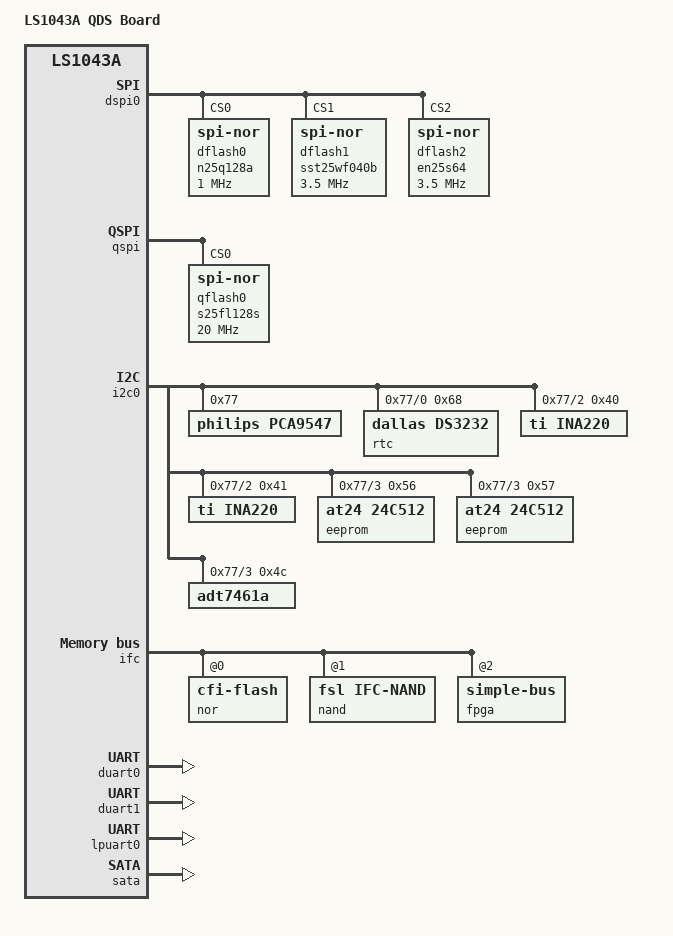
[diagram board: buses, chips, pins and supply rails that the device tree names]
// SPDX-License-Identifier: GPL-2.0+ OR X11
/*
 * Device Tree Include file for Freescale Layerscape-1043A family SoC.
 *
 * Copyright (C) 2015, Freescale Semiconductor
 *
 * Mingkai Hu <Mingkai.hu@freescale.com>
 */

/include/ "fsl-ls1043a.dtsi"

/ {
	model = "LS1043A QDS Board";
	aliases {
		spi0 = &qspi;
		spi1 = &dspi0;
	};
};

&dspi0 {
	bus-num = <0>;
	status = "okay";

	dflash0: n25q128a {
		#address-cells = <1>;
		#size-cells = <1>;
		compatible = "jedec,spi-nor";
		spi-max-frequency = <1000000>; /* input clock */
		spi-cpol;
		spi-cpha;
		reg = <0>;
	};

	dflash1: sst25wf040b {
		#address-cells = <1>;
		#size-cells = <1>;
		compatible = "jedec,spi-nor";
		spi-max-frequency = <3500000>;
		spi-cpol;
		spi-cpha;
		reg = <1>;
	};

	dflash2: en25s64 {
		#address-cells = <1>;
		#size-cells = <1>;
		compatible = "jedec,spi-nor";
		spi-max-frequency = <3500000>;
		spi-cpol;
		spi-cpha;
		reg = <2>;
	};
};

&qspi {
	bus-num = <0>;
	status = "okay";

	qflash0: s25fl128s@0 {
		#address-cells = <1>;
		#size-cells = <1>;
		compatible = "jedec,spi-nor";
		spi-max-frequency = <20000000>;
		reg = <0>;
	};
};

&i2c0 {
	status = "okay";
	pca9547@77 {
		compatible = "philips,pca9547";
		reg = <0x77>;
		#address-cells = <1>;
		#size-cells = <0>;

		i2c@0 {
			#address-cells = <1>;
			#size-cells = <0>;
			reg = <0x0>;

			rtc@68 {
				compatible = "dallas,ds3232";
				reg = <0x68>;
				/* IRQ10_B */
				interrupts = <0 150 0x4>;
			};
		};

		i2c@2 {
			#address-cells = <1>;
			#size-cells = <0>;
			reg = <0x2>;

			ina220@40 {
				compatible = "ti,ina220";
				reg = <0x40>;
				shunt-resistor = <1000>;
			};

			ina220@41 {
				compatible = "ti,ina220";
				reg = <0x41>;
				shunt-resistor = <1000>;
			};
		};

		i2c@3 {
			#address-cells = <1>;
			#size-cells = <0>;
			reg = <0x3>;

			eeprom@56 {
				compatible = "at24,24c512";
				reg = <0x56>;
			};

			eeprom@57 {
				compatible = "at24,24c512";
				reg = <0x57>;
			};

			adt7461a@4c {
				compatible = "adt7461a";
				reg = <0x4c>;
			};
		};
	};
};

&ifc {
	#address-cells = <2>;
	#size-cells = <1>;
	/* NOR, NAND Flashes and FPGA on board */
	ranges = <0x0 0x0 0x0 0x60000000 0x08000000
		  0x1 0x0 0x0 0x7e800000 0x00010000
		  0x2 0x0 0x0 0x7fb00000 0x00000100>;
	status = "okay";

	nor@0,0 {
		#address-cells = <1>;
		#size-cells = <1>;
		compatible = "cfi-flash";
		reg = <0x0 0x0 0x8000000>;
		bank-width = <2>;
		device-width = <1>;
	};

	nand@1,0 {
		compatible = "fsl,ifc-nand";
		#address-cells = <1>;
		#size-cells = <1>;
		reg = <0x1 0x0 0x10000>;
	};

	fpga: board-control@2,0 {
		#address-cells = <1>;
		#size-cells = <1>;
		compatible = "simple-bus";
		reg = <0x2 0x0 0x0000100>;
		bank-width = <1>;
		device-width = <1>;
		ranges = <0 2 0 0x100>;
	};
};

&duart0 {
	status = "okay";
};

&duart1 {
	status = "okay";
};

&lpuart0 {
	status = "okay";
};

&sata {
	status = "okay";
};
